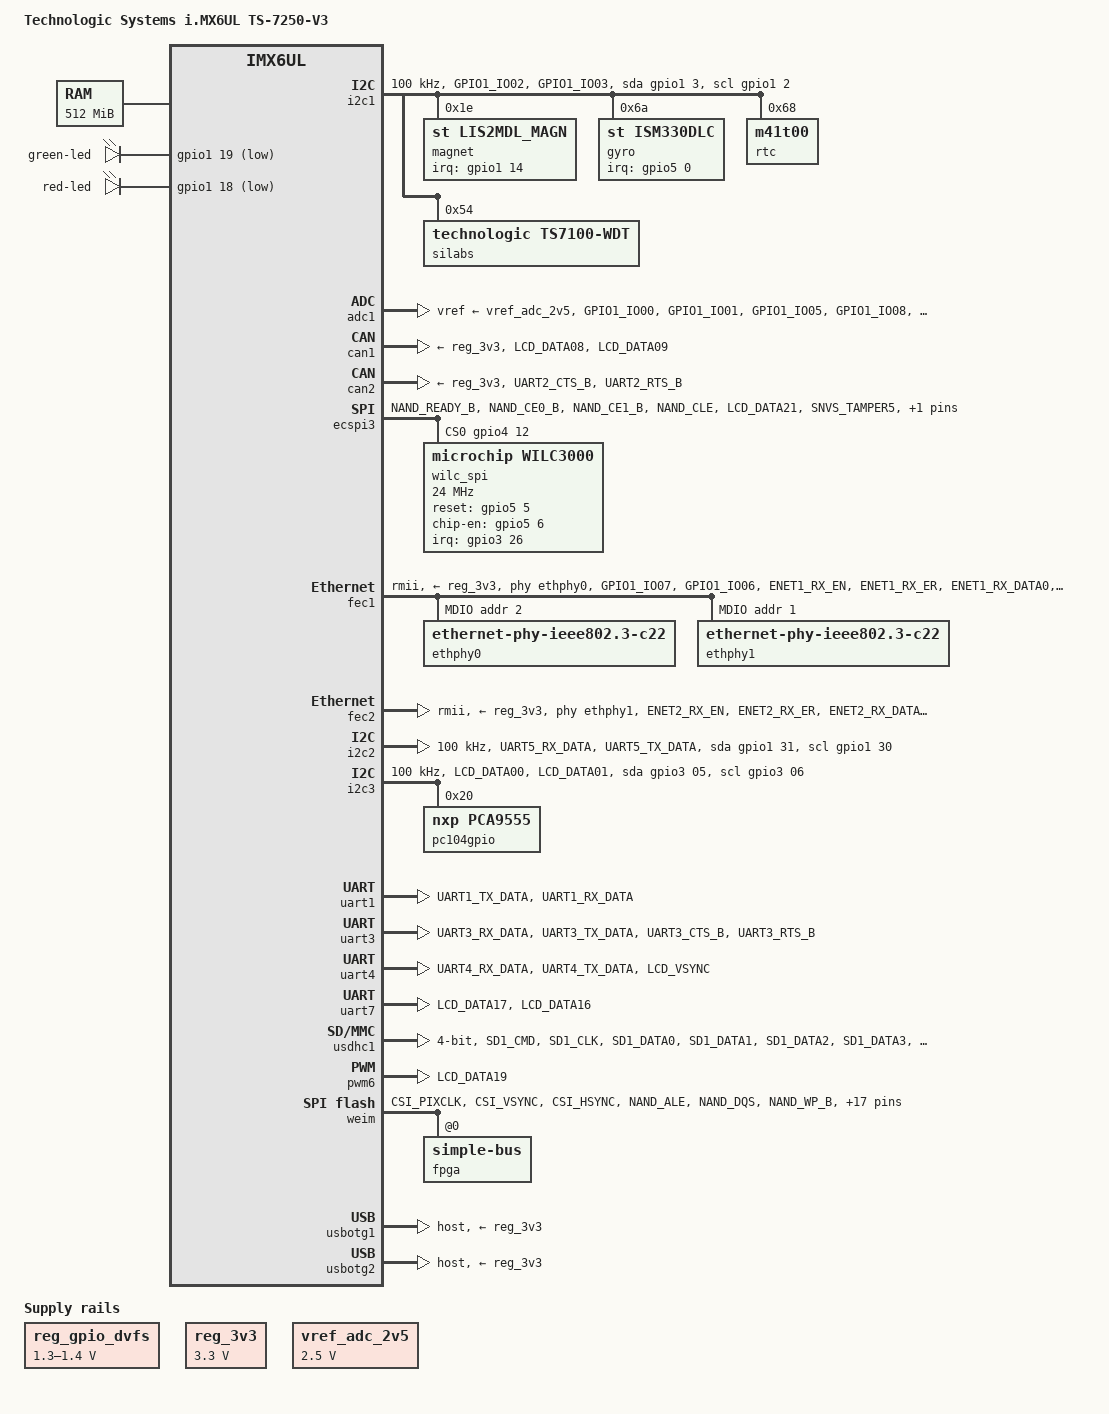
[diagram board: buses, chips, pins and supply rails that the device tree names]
/*
 * Copyright 2019 Technologic Systems
 *
 * This file is dual-licensed: you can use it either under the terms
 * of the GPL or the X11 license, at your option. Note that this dual
 * licensing only applies to this file, and not this project as a
 * whole.
 *
 *  a) This file is free software; you can redistribute it and/or
 *     modify it under the terms of the GNU General Public License
 *     version 2 as published by the Free Software Foundation.
 *
 *     This file is distributed in the hope that it will be useful
 *     but WITHOUT ANY WARRANTY; without even the implied warranty of
 *     MERCHANTABILITY or FITNESS FOR A PARTICULAR PURPOSE.  See the
 *     GNU General Public License for more details.
 *
 * Or, alternatively
 *
 *  b) Permission is hereby granted, free of charge, to any person
 *     obtaining a copy of this software and associated documentation
 *     files (the "Software"), to deal in the Software without
 *     restriction, including without limitation the rights to use
 *     copy, modify, merge, publish, distribute, sublicense, and/or
 *     sell copies of the Software, and to permit persons to whom the
 *     Software is furnished to do so, subject to the following
 *     conditions:
 *
 *     The above copyright notice and this permission notice shall be
 *     included in all copies or substantial portions of the Software.
 *
 *     THE SOFTWARE IS PROVIDED , WITHOUT WARRANTY OF ANY KIND
 *     EXPRESS OR IMPLIED, INCLUDING BUT NOT LIMITED TO THE WARRANTIES
 *     OF MERCHANTABILITY, FITNESS FOR A PARTICULAR PURPOSE AND
 *     NONINFRINGEMENT. IN NO EVENT SHALL THE AUTHORS OR COPYRIGHT
 *     HOLDERS BE LIABLE FOR ANY CLAIM, DAMAGES OR OTHER LIABILITY
 *     WHETHER IN AN ACTION OF CONTRACT, TORT OR OTHERWISE, ARISING
 *     FROM, OUT OF OR IN CONNECTION WITH THE SOFTWARE OR THE USE OR
 *     OTHER DEALINGS IN THE SOFTWARE.
 */

/dts-v1/;
#include <dt-bindings/input/input.h>
#include "imx6ul.dtsi"

/ {
	model = "Technologic Systems i.MX6UL TS-7250-V3";
	compatible = "technologic,ts7250v3", "fsl,imx6ul";

	aliases {
		ethernet0 = &fec1;
		ethernet1 = &fec2;
		serial8 = &fpga_uart0;
		serial9 = &fpga_uart1;
		serial10 = &fpga_uart2;
		serial11 = &fpga_uart3;
		serial12 = &fpga_uart4;
		serial13 = &fpga_uart5;
		serial14 = &fpga_uart6;
		serial15 = &fpga_uart7;
		serial16 = &fpga_uart8;
		pc104bus = &pc104bus;
	};

	chosen {
		stdout-path = &uart1;
	};

	memory {
		/* To be filled in by u-boot */
		reg = <0x80000000 0x20000000>;
	};

	leds {
		pinctrl-names = "default";
		pinctrl-0 = <&pinctrl_cpu_leds>;
		compatible = "gpio-leds";

		green-led {
			label = "green-led";
			gpios = <&gpio1 19 GPIO_ACTIVE_LOW>;
			default-state = "on";
		};

		red-led {
			label = "red-led";
			gpios = <&gpio1 18 GPIO_ACTIVE_LOW>;
			default-state = "off";
		};
	};

	reserved-memory {
		#address-cells = <1>;
		#size-cells = <1>;
		ranges;

		linux,cma {
			compatible = "shared-dma-pool";
			reusable;
			size = <0x14000000>;
			linux,cma-default;
		};
	};

	regulators {
		compatible = "simple-bus";
		#address-cells = <1>;
		#size-cells = <0>;

		reg_gpio_dvfs: regulator-gpio {
			compatible = "regulator-gpio";
			pinctrl-names = "default";
			pinctrl-0 = <&pinctrl_dvfs>;
			regulator-min-microvolt = <1300000>;
			regulator-max-microvolt = <1400000>;
			regulator-name = "gpio_dvfs";
			regulator-type = "voltage";
			gpios = <&gpio5 3 GPIO_ACTIVE_HIGH>;
			states = <1300000 0x1 1400000 0x0>;
		};

		reg_3v3: rev_3v3@0 {
			compatible = "regulator-fixed";
			regulator-name = "reg-3v3";
			regulator-min-microvolt = <3300000>;
			regulator-max-microvolt = <3300000>;
		};

		vref_adc_2v5: adc@0 {
			compatible = "regulator-fixed";
			regulator-name = "vref-adc";
			regulator-min-microvolt = <2500000>;
			regulator-max-microvolt = <2500000>;
		};
	};
};

&i2c1 {
	clock-frequency = <100000>;
	pinctrl-names = "default", "gpio";
	pinctrl-0 = <&pinctrl_i2c1>;
	pinctrl-1 = <&pinctrl_i2c1_gpio>;
	scl-gpios = <&gpio1 2 GPIO_ACTIVE_HIGH>;
	sda-gpios = <&gpio1 3 GPIO_ACTIVE_HIGH>;
	status = "okay";

	magnet: magnetometer@1e {
		compatible = "st,lis2mdl_magn";
		reg = <0x1e>;
		interrupt-parent = <&gpio1>;
		interrupts = <14 IRQ_TYPE_EDGE_RISING>;
		status = "okay";
	};

	gyro: ism1330@6a {
		compatible = "st,ism330dlc";
		reg = <0x6a>;
		interrupt-parent = <&gpio5>;
		interrupts = <0 IRQ_TYPE_EDGE_RISING>;
		status = "okay";
	};

	rtc: m41t00s@68 {
		compatible = "m41t00";
		reg = <0x68>;
		status = "okay";
	};

	silabs: silabs@54 {
		compatible = "technologic,ts7100-wdt";
		/* 5min timeout default, in case of slow userspace.
		 * Set to 0 to disable WDT at startup. Userspace procs
		 * can still start feeding later.
		 */
		timeout-sec = <300>;
		reg = <0x54>;
		status = "okay";
	};
};

&adc1 {
	pinctrl-names = "default";
	pinctrl-0 = <&pinctrl_adc1>;
	vref-supply = <&vref_adc_2v5>;
	status = "okay";
};

&can1 {
	pinctrl-names = "default";
	pinctrl-0 = <&pinctrl_flexcan1>;
	xceiver-supply = <&reg_3v3>;
	status = "okay";
};

&can2 {
	pinctrl-names = "default";
	pinctrl-0 = <&pinctrl_flexcan2>;
	xceiver-supply = <&reg_3v3>;
	status = "okay";
};

&cpu0 {
	arm-supply = <&reg_arm>;
	soc-supply = <&reg_soc>;
	dc-supply = <&reg_gpio_dvfs>;
};

&ecspi3 {
	pinctrl-names = "default";
	pinctrl-0 = <&pinctrl_ecspi3>;
	fsl,spi-num-chipselects = <1>;
	cs-gpios = <&gpio4 12 0>;
	status = "okay";

	wilc_spi@0 {
		compatible = "microchip,wilc3000";
		reg = <0>;
		spi-max-frequency = <24000000>;
		wilc3000,reset-gpios = <&gpio5 5 0>;
		wilc3000,chip-en-gpios = <&gpio5 6 0>;
		wilc3000,irq-gpios = <&gpio3 26 0>;
		status = "okay";
	};
};

&fec1 {
	pinctrl-names = "default";
	pinctrl-0 = <&pinctrl_enet1>;
	phy-mode = "rmii";
	phy-handle = <&ethphy0>;
	phy-supply = <&reg_3v3>;

	status = "okay";
	mdio {
		#address-cells = <1>;
		#size-cells = <0>;

		ethphy0: ethernet-phy@0 {
			clocks = <&clks IMX6UL_CLK_ENET_REF>;
			clock-names = "rmii-ref";
			compatible = "ethernet-phy-ieee802.3-c22";
			reg = <2>;
		};

		ethphy1: ethernet-phy@1 {
			clocks = <&clks IMX6UL_CLK_ENET_REF>;
			clock-names = "rmii-ref";
			compatible = "ethernet-phy-ieee802.3-c22";
			reg = <1>;
		};
	};
};

&fec2 {
	pinctrl-names = "default";
	pinctrl-0 = <&pinctrl_enet2>;
	phy-mode = "rmii";
	phy-handle = <&ethphy1>;
	phy-supply = <&reg_3v3>;
	status = "okay";
};

&gpc {
	fsl,cpu_pupscr_sw2iso = <0x1>;
	fsl,cpu_pupscr_sw = <0x0>;
	fsl,cpu_pdnscr_iso2sw = <0x1>;
	fsl,cpu_pdnscr_iso = <0x1>;
	fsl,ldo-bypass = <0>; /* DCDC, ldo-enable */
};

&gpio1 {
	gpio-line-names =
		"AN_CH1",
		"AN_CH2",
		"I2C_1_CLK",
		"I2C_1_DAT",
		"EN_SD_CARD_3.3V",
		"AN_CH3",
		"ETH_MDIO",
		"ETH_MDC",
		"AN_CH4",
		"AN_CH5",
		"",
		"",
		"",
		"FPGA_RESET",
		"MAGNET_IRQ",
		"",
		"CONSOLE_TXD",
		"CONSOLE_RXD",
		"EN_RED_LED#",
		"EN_GRN_LED#",
		"",
		"EN_XBEE_USB",
		"CAN_2_TXD",
		"CAN2_RXD_3V",
		"UART3_TXD",
		"UART3_RXD",
		"UART3_CTS#",
		"UART3_RTS#",
		"UART4_TXD",
		"UART4_RXD",
		"I2C_2_CLK",
		"I2C_2_DAT";
};

&gpio2 {
	gpio-line-names =
		"ENET1_RX_DATA0",
		"ENET1_RX_DATA1",
		"ENET1_RX_EN",
		"ENET1_TX_DATA0",
		"ENET1_TX_DATA1",
		"ENET1_TX_EN",
		"ENET1_TX_CLK",
		"ENET1_RX_ER",
		"ENET2_RX_DATA0",
		"ENET2_RX_DATA1",
		"ENET2_RX_EN",
		"ENET2_TX_DATA0",
		"ENET2_TX_DATA1",
		"ENET2_TX_EN",
		"ENET2_TX_CLK",
		"ENET2_RX_ER",
		"EMMC_CMD",
		"EMMC_CLK",
		"EMMC_D0",
		"EMMC_D1",
		"EMMC_D2",
		"EMMC_D3",
		"",
		"",
		"",
		"",
		"",
		"",
		"",
		"",
		"",
		"";
};

&gpio3 {
	gpio-line-names =
		"EN_USB_5V",
		"",
		"",
		"UART4_CTS#",
		"WDOG#",
		"I2C_3_DAT",
		"I2C_3_CLK",
		"ISA_RESET",
		"ISA_IOCHK",
		"LCD_PIN7",
		"LCD_PIN8",
		"LCD_PIN9",
		"LCD_PIN10",
		"CAN_1_TXD",
		"CAN1_RXD_3V",
		"LCD_PIN11",
		"LCD_PIN12",
		"LCD_PIN13",
		"LCD_PIN14",
		"LCD_WR#",
		"LCD_EN",
		"UART7_TXD",
		"UART7_RXD",
		"LCD_RS",
		"LCD_BIAS",
		"NIM_PWR_ON",
		"WIFI_IRQ#",
		"EN_DIO_FET",
		"SEL_XBEE_USB",
		"",
		"",
		"";
};

&gpio4 {
	gpio-line-names =
		"FPGA_FLASH_SELECT",
		"DETECT_94-120",
		"EIM_AD_08",
		"EIM_AD_09",
		"EIM_AD_10",
		"EIM_AD_11",
		"EIM_AD_12",
		"EIM_AD_13",
		"EIM_AD_14",
		"EIM_AD_15",
		"EIM_IRQ",
		"EIM_BLK",
		"SPI_3_CS#",
		"SPI_3_CLK",
		"SPI_3_MOSI",
		"SPI_3_MISO",
		"EIM_WAIT#",
		"EIM_CS0#",
		"EIM_OE#",
		"EIM_WE#",
		"EIM_LBA#",
		"EIM_AD_00",
		"EIM_AD_01",
		"EIM_AD_02",
		"EIM_AD_03",
		"EIM_AD_04",
		"EIM_AD_05",
		"EIM_AD_06",
		"EIM_AD_07",
		"",
		"",
		"";
};

&gpio5 {
	gpio-line-names =
		"GYRO_INT",
		"FPGA_IRQ",
		"EN_EMMC_3.3V",
		"GPIO_DVFS",
		"",
		"WIFI_RESET#",
		"EN_WIFI_PWR",
		"EN_CL_1",
		"EN_CL_2",
		"EN_CL_3",
		"",
		"",
		"",
		"",
		"",
		"",
		"",
		"",
		"",
		"",
		"",
		"",
		"",
		"",
		"",
		"",
		"",
		"",
		"",
		"",
		"",
		"";
};

&i2c2 {
	clock-frequency = <100000>;
	pinctrl-names = "default", "gpio";
	pinctrl-0 = <&pinctrl_i2c2>;
	pinctrl-1 = <&pinctrl_i2c2_gpio>;
	scl-gpios = <&gpio1 30 GPIO_ACTIVE_HIGH>;
	sda-gpios = <&gpio1 31 GPIO_ACTIVE_HIGH>;
	status = "okay";
};

&i2c3 {
	clock-frequency = <100000>;
	pinctrl-names = "default", "gpio";
	pinctrl-0 = <&pinctrl_i2c3>;
	pinctrl-1 = <&pinctrl_i2c3_gpio>;
	scl-gpios = <&gpio3 06 GPIO_ACTIVE_HIGH>;
	sda-gpios = <&gpio3 05 GPIO_ACTIVE_HIGH>;
	status = "okay";

	pc104gpio: pca9555@20 {
		compatible = "nxp,pca9555";
		reg = <0x20>;
		gpio-controller;
		#gpio-cells = <2>;
		status = "okay";
	};

	/* ATSHA204@64 */
};

&uart1 {
	pinctrl-names = "default";
	pinctrl-0 = <&pinctrl_uart1>;
	status = "okay";
};

&uart3 {
	pinctrl-names = "default";
	pinctrl-0 = <&pinctrl_uart3>;
	fsl,uart-has-rtscts;
	status = "okay";
};

&uart4 {
	pinctrl-names = "default";
	pinctrl-0 = <&pinctrl_uart4>;
	fsl,uart-has-rtscts;
	status = "okay";
};

&uart7 {
	pinctrl-names = "default";
	pinctrl-0 = <&pinctrl_uart7>;
	status = "okay";
};

&usdhc1 {
	pinctrl-names = "default";
	pinctrl-0 = <&pinctrl_usdhc1>;
	no-1-8-v;
	disable-wp;
	broken-cd = <1>;
	bus-width = <4>;
	status = "okay";
};

&pwm6 {
	pinctrl-names = "default";
	pinctrl-0 = <&pinctrl_pwm6>;
	status = "okay";
};

&snvs_rtc {
	status = "disabled";
};

&wdog1 {
	status = "disabled";
};

&weim {
	pinctrl-names = "default";
	pinctrl-0 = <&pinctrl_weim_fpga &pinctrl_weim_cs0>;
	#address-cells = <2>;
	#size-cells = <1>;
	clocks = <&clks IMX6UL_CLK_EIM>, <&clks IMX6UL_CLK_EIM_SLOW_SEL>;
	ranges = <0 0 0x50000000 0x08000000>;
	status = "okay";

	fpga: fpga@50000000 {
		compatible = "simple-bus";
		reg = <0 0x50000000 0x00010000>;
		#address-cells = <1>;
		#size-cells = <1>;
		ranges = <0 0 0 0x10000>;

		fsl,weim-cs-timing = <
			0x0161030F	// EIM_CSnGCR1 @ 0x021b8000
			0x00000000	// EIM_CSnGCR2 @ 0x021b8004
			0x03000000	// EIM_CSnRCR1 @ 0x021b8008
			0x00000000	// EIM_CSnRCR2 @ 0x021b800c
			0x01000000	// EIM_CSnWCR1 @ 0x021b8010
			0 		// EIM_CSnWCR2 @ 0x021b8014
		>;

		status = "okay";

		clocks {
			#address-cells = <1>;
			#size-cells = <1>;
			ranges;

			fpga_clk_weim_bclk: fpga_clk_weim_bclk {
				#clock-cells = <0>;
				compatible = "fixed-clock";
				clock-frequency = <99000000>;
			};
		};

		fpga_uart0: serial@0 {
			compatible = "ns16550a";
			device_type = "serial";
			reg = <0x0 16>;

			current-speed = <115200>;
			reg-shift = <1>;
			reg-io-width = <1>;
			clock-frequency = <1843200>;
			interrupt-parent = <&fpga_intc>;
			interrupts = <0>;
			status = "okay";
		};

		fpga_uart1: serial@10 {
			compatible = "ns16550a";
			device_type = "serial";
			reg = <0x10 16>;

			current-speed = <115200>;
			reg-shift = <1>;
			reg-io-width = <1>;
			clock-frequency = <1843200>;
			interrupt-parent = <&fpga_intc>;
			interrupts = <1>;
			status = "okay";
		};

		fpga_uart2: serial@20 {
			compatible = "ns16550a";
			device_type = "serial";
			reg = <0x20 16>;

			current-speed = <115200>;
			reg-shift = <1>;
			reg-io-width = <1>;
			clock-frequency = <1843200>;
			interrupt-parent = <&fpga_intc>;
			interrupts = <2>;
			status = "okay";
		};

		fpga_uart3: serial@30 {
			compatible = "ns16550a";
			device_type = "serial";
			reg = <0x30 16>;

			current-speed = <115200>;
			reg-shift = <1>;
			reg-io-width = <1>;
			clock-frequency = <1843200>;
			interrupt-parent = <&fpga_intc>;
			interrupts = <3>;
			status = "okay";
		};

		fpga_uart4: serial@40 {
			compatible = "ns16550a";
			device_type = "serial";
			reg = <0x40 16>;

			current-speed = <115200>;
			reg-shift = <1>;
			reg-io-width = <1>;
			clock-frequency = <1843200>;
			interrupt-parent = <&fpga_intc>;
			interrupts = <4>;
			status = "okay";
		};

		fpga_uart5: serial@50 {
			compatible = "ns16550a";
			device_type = "serial";
			reg = <0x50 16>;

			current-speed = <115200>;
			reg-shift = <1>;
			reg-io-width = <1>;
			clock-frequency = <1843200>;
			interrupt-parent = <&fpga_intc>;
			interrupts = <5>;
			status = "okay";
		};

		fpga_uart6: serial@60 {
			compatible = "ns16550a";
			device_type = "serial";
			reg = <0x60 16>;

			current-speed = <115200>;
			reg-shift = <1>;
			reg-io-width = <1>;
			clock-frequency = <1843200>;
			interrupt-parent = <&fpga_intc>;
			interrupts = <6>;
			status = "okay";
		};

		fpga_uart7: serial@70 {
			compatible = "ns16550a";
			device_type = "serial";
			reg = <0x70 16>;

			current-speed = <115200>;
			reg-shift = <1>;
			reg-io-width = <1>;
			clock-frequency = <1843200>;
			interrupt-parent = <&fpga_intc>;
			interrupts = <7>;
			status = "okay";
		};

		fpga_uart8: serial@80 {
			compatible = "ns16550a";
			device_type = "serial";
			reg = <0x80 16>;

			current-speed = <115200>;
			reg-shift = <1>;
			reg-io-width = <1>;
			clock-frequency = <1843200>;
			interrupt-parent = <&fpga_intc>;
			interrupts = <8>;
			status = "okay";
		};

		opencores_spi0: opencores_spi@0 {
			#address-cells = <1>;
			#size-cells = <0>;
			compatible = "opencores,spi-oc";
			reg = <0x100 32>;
			interrupt-parent = <&fpga_intc>;
			interrupts = <9>;
			clocks = <&fpga_clk_weim_bclk>;
			clock-names = "spi-oc-clk";
			opencores-spi,idx = <0>;
			opencores-spi,num-chipselects = <1>;
			status = "okay";

			offboardspi0: offboardspi@0 {
				compatible = "spidev";
				reg = <0>;
				spi-max-frequency = <1000000>;
			};
		};

		syscon: syscon@4000 {
			compatible = "simple-bus";
			#address-cells = <0x1>;
			#size-cells = <0x1>;
			reg = <0x4000 0x58>;
			ranges = <0 0x4000 0x58>;
			status = "okay";

			fpga_intc: fpga_intc@0 {
				compatible = "technologic,ts71xxweim-intc";
				reg = <0x0 0x50>;

				interrupt-controller;
				#interrupt-cells = <1>;

				interrupt-parent = <&gpio5>;
				interrupts = <1 IRQ_TYPE_EDGE_RISING>;
				status = "okay";
			};

			pc104bus: fpgaisa@50 {
				compatible = "technologic,pc104-bus";
				reg = <0x50 0x4>;

				ranges = <0 0 0x1000>;
				reset-gpio = <&gpio3 7 0>;

				#address-cells = <0x1>;
				#size-cells = <0x1>;

				status = "okay";
			};

			gpio6: fpga_gpio6@10 {
				compatible = "technologic,ts71xxweim-gpio";
				reg = <0x10 0x08>;
				gpio-controller;
				#gpio-cells = <2>;
				base = <160>;
				ngpios = <16>;
				interrupt-controller;
				#interrupt-cells = <1>;
				status = "okay";

				gpio-line-names =
					"PHY_RESET#",
					"DIO_PIN1",
					"DIO_PIN3",
					"DIO_PIN5",
					"DIO_PIN7",
					"DIO_PIN8",
					"DIO_PIN9",
					"DIO_PIN11",
					"DIO_PIN13",
					"DIO_PIN15",
					"DIO_SPI_MISO",
					"DIO_SPI_CS#",
					"SILAB_CLK",
					"SILAB_DAT",
					"",
					"";
			};

			gpio7: fpga_gpio7@40 {
				compatible = "technologic,ts71xxweim-gpio";
				reg = <0x40 0x08>;
				gpio-controller;
				#gpio-cells = <2>;
				base = <176>;
				ngpios = <16>;
				interrupt-controller;
				#interrupt-cells = <1>;
				status = "okay";

				gpio-line-names =
					"MIKRO_RESET#",
					"ISA_BALE",
					"ISA_TC",
					"ISA_ENDX",
					"EN_NIMBEL_3V3",
					"ISA_IORDY",
					"ISA_REFRESH",
					"ISA_DRQ1",
					"ISA_DACK1",
					"ISA_DRQ2",
					"ISA_DACK2",
					"EN_NIMBEL_4V",
					"ISA_DRQ3",
					"ISA_DACK3",
					"",
					"";
			};
		};
	 };
};

&iomuxc {
	pinctrl-names = "default";
	pinctrl-0 = <&ts7250v3_pinctrl_hog>;
	imx6ul-ts7250v3 {
		pinctrl_pwm6: pwm6grp {
			fsl,pins = <
				MX6UL_PAD_LCD_DATA19__PWM6_OUT	0x3020 /* LCD_BIAS */
			>;
		};

		ts7250v3_pinctrl_hog: hoggrp {
			fsl,pins = <
				/*
				 * 0x1b020 == Hyst., 100k PU, 50 mA drive
				 * 0x1a020 == no pull resistor
				 * 0x13020 == 100k PD
				 */

				/* TODO Verify pull state of these pins! */
				MX6UL_PAD_LCD_DATA02__GPIO3_IO07	0x13020 /* ISA_RESET */
				MX6UL_PAD_LCD_DATA03__GPIO3_IO08	0x13020 /* ISA_IOCHK */

				MX6UL_PAD_LCD_DATA04__GPIO3_IO09	0x1a020 /* LCD_PIN7 */
				MX6UL_PAD_LCD_DATA05__GPIO3_IO10	0x1a020 /* LCD_PIN8 */
				MX6UL_PAD_LCD_DATA06__GPIO3_IO11	0x1a020 /* LCD_PIN9 */
				MX6UL_PAD_LCD_DATA07__GPIO3_IO12	0x1a020 /* LCD_PIN10 */
				MX6UL_PAD_LCD_DATA10__GPIO3_IO15	0x1a020 /* LCD_PIN11 */
				MX6UL_PAD_LCD_DATA11__GPIO3_IO16	0x1a020 /* LCD_PIN12 */
				MX6UL_PAD_LCD_DATA12__GPIO3_IO17	0x1a020 /* LCD_PIN13 */
				MX6UL_PAD_LCD_DATA13__GPIO3_IO18	0x1a020 /* LCD_PIN14 */
				MX6UL_PAD_LCD_DATA14__GPIO3_IO19	0x1a020 /* LCD_WR# */
				MX6UL_PAD_LCD_DATA15__GPIO3_IO20	0x1a020 /* LCD_EN */
				MX6UL_PAD_LCD_DATA18__GPIO3_IO23	0x1a020 /* LCD_RS */

				MX6UL_PAD_LCD_DATA20__GPIO3_IO25	0x13020 /* NIM_PWR_ON */
				MX6UL_PAD_LCD_DATA22__GPIO3_IO27	0x13020 /* EN_DIO_FET */
				MX6UL_PAD_LCD_DATA23__GPIO3_IO28	0x13020 /* SEL_XBEE_USB */
				MX6UL_PAD_LCD_CLK__GPIO3_IO00		0x1b020 /* EN_USB_5V */

				MX6UL_PAD_UART2_RX_DATA__GPIO1_IO21	0x13020 /* EN_XBEE_USB */
				MX6UL_PAD_SNVS_TAMPER1__GPIO5_IO01	0x1b029 /* FPGA IRQ */
				MX6UL_PAD_NAND_RE_B__GPIO4_IO00		0x1b029 /* FPGA_FLASH_SELECT */
				MX6UL_PAD_NAND_WE_B__GPIO4_IO01		0x1b029 /* DETECT_94-120 */
			>;
		};

		pinctrl_cpu_leds: cpuledgrp {
			fsl,pins = <
				/* Red LED */
				MX6UL_PAD_UART1_CTS_B__GPIO1_IO18	0x1b020
				/* Green LED */
				MX6UL_PAD_UART1_RTS_B__GPIO1_IO19	0x1b020
			>;
		};

		pinctrl_adc1: adc1grp{
			fsl,pins = <
				MX6UL_PAD_GPIO1_IO00__GPIO1_IO00	0x20
				MX6UL_PAD_GPIO1_IO01__GPIO1_IO01	0x20
				MX6UL_PAD_GPIO1_IO05__GPIO1_IO05	0x20
				MX6UL_PAD_GPIO1_IO08__GPIO1_IO08	0x20
				MX6UL_PAD_GPIO1_IO09__GPIO1_IO09	0x20
			>;
		};

		pinctrl_flexcan1: flexcan1grp{
			fsl,pins = <
				MX6UL_PAD_LCD_DATA08__FLEXCAN1_TX	0x1b020
				MX6UL_PAD_LCD_DATA09__FLEXCAN1_RX	0x1b020
			>;
		};

		pinctrl_flexcan2: flexcan2grp{
			fsl,pins = <
				MX6UL_PAD_UART2_CTS_B__FLEXCAN2_TX	0x1b020
				MX6UL_PAD_UART2_RTS_B__FLEXCAN2_RX	0x1b020
			>;
		};

		pinctrl_uart1: uart1grp {
			fsl,pins = <
				MX6UL_PAD_UART1_TX_DATA__UART1_DCE_TX	0x1b0b1
				MX6UL_PAD_UART1_RX_DATA__UART1_DCE_RX	0x1b0b1
			>;
		};

		pinctrl_uart3: uart3grp {
			fsl,pins = <
				MX6UL_PAD_UART3_RX_DATA__UART3_DCE_RX	0x1b0b1
				MX6UL_PAD_UART3_TX_DATA__UART3_DCE_TX	0x1b0b1
				MX6UL_PAD_UART3_CTS_B__UART3_DCE_CTS	0x1b0b1
				MX6UL_PAD_UART3_RTS_B__UART3_DCE_RTS	0x1b0b1
			>;
		};

		pinctrl_uart4: uart4grp {
			fsl,pins = <
				MX6UL_PAD_UART4_RX_DATA__UART4_DCE_RX	0x1b0b1
				MX6UL_PAD_UART4_TX_DATA__UART4_DCE_TX	0x1b0b1
				MX6UL_PAD_LCD_VSYNC__UART4_DTE_CTS	0x1b0b1
			>;
		};

		pinctrl_uart7: uart7grp {
			fsl,pins = <
				MX6UL_PAD_LCD_DATA17__UART7_DCE_RX	0x1b0b1
				MX6UL_PAD_LCD_DATA16__UART7_DCE_TX	0x1b0b1
			>;
		};

		pinctrl_enet1: enet1grp {
			fsl,pins = <
				MX6UL_PAD_GPIO1_IO07__ENET1_MDC		0x1b0b0
				MX6UL_PAD_GPIO1_IO06__ENET1_MDIO	0x1b0b0
				MX6UL_PAD_ENET1_RX_EN__ENET1_RX_EN	0x1b0b0
				MX6UL_PAD_ENET1_RX_ER__ENET1_RX_ER	0x1b0b0
				MX6UL_PAD_ENET1_RX_DATA0__ENET1_RDATA00	0x1b0b0
				MX6UL_PAD_ENET1_RX_DATA1__ENET1_RDATA01	0x1b0b0
				MX6UL_PAD_ENET1_TX_EN__ENET1_TX_EN	0x1b0b0
				MX6UL_PAD_ENET1_TX_DATA0__ENET1_TDATA00	0x1b0b0
				MX6UL_PAD_ENET1_TX_DATA1__ENET1_TDATA01	0x1b0b0
				MX6UL_PAD_ENET1_TX_CLK__ENET1_REF_CLK1	0x4001b031
			>;
		};

		pinctrl_enet2: enet2grp {
			fsl,pins = <
				MX6UL_PAD_ENET2_RX_EN__ENET2_RX_EN	0x1b0b0
				MX6UL_PAD_ENET2_RX_ER__ENET2_RX_ER	0x1b0b0
				MX6UL_PAD_ENET2_RX_DATA0__ENET2_RDATA00	0x1b0b0
				MX6UL_PAD_ENET2_RX_DATA1__ENET2_RDATA01	0x1b0b0
				MX6UL_PAD_ENET2_TX_EN__ENET2_TX_EN	0x1b0b0
				MX6UL_PAD_ENET2_TX_DATA0__ENET2_TDATA00	0x1b0b0
				MX6UL_PAD_ENET2_TX_DATA1__ENET2_TDATA01	0x1b0b0
				MX6UL_PAD_ENET2_TX_CLK__ENET2_REF_CLK2	0x4001b031
			>;
		};

		pinctrl_i2c1: i2c1grp {
			fsl,pins = <
				MX6UL_PAD_GPIO1_IO02__I2C1_SCL		0x4001a8b0
				MX6UL_PAD_GPIO1_IO03__I2C1_SDA		0x4001a8b0
			>;
		};

		pinctrl_i2c1_gpio: i2c1grpgpio {
			fsl,pins = <
				MX6UL_PAD_GPIO1_IO02__GPIO1_IO02	0x108B0
				MX6UL_PAD_GPIO1_IO03__GPIO1_IO03	0x108B0
				MX6UL_PAD_JTAG_TCK__GPIO1_IO14		0x1b020 /* MAGNET_IRQ */
				MX6UL_PAD_SNVS_TAMPER0__GPIO5_IO00	0x1b020 /* GYRO_INT */
			>;
		};

		pinctrl_i2c2: i2c2grp {
			fsl,pins = <
				MX6UL_PAD_UART5_RX_DATA__I2C2_SDA	0x4001a8b0
				MX6UL_PAD_UART5_TX_DATA__I2C2_SCL	0x4001a8b0
			>;
		};

		pinctrl_i2c2_gpio: i2c2grpgpio {
			fsl,pins = <
				MX6UL_PAD_UART5_RX_DATA__GPIO1_IO31	0x4001a8b0
				MX6UL_PAD_UART5_TX_DATA__GPIO1_IO30	0x4001a8b0
			>;
		};

		pinctrl_ecspi3: ecspi3grp {
			fsl,pins = <
				MX6UL_PAD_NAND_READY_B__GPIO4_IO12	0x100b1 /* SPI_3_CS# */
				MX6UL_PAD_NAND_CE0_B__ECSPI3_SCLK	0x100b1
				MX6UL_PAD_NAND_CE1_B__ECSPI3_MOSI	0x100b1
				MX6UL_PAD_NAND_CLE__ECSPI3_MISO		0x100b1
				MX6UL_PAD_LCD_DATA21__GPIO3_IO26	0x100b1 /* WIFI_IRQ# */
				MX6UL_PAD_SNVS_TAMPER5__GPIO5_IO05	0x100b1 /* WIFI_RESET# */
				MX6UL_PAD_SNVS_TAMPER6__GPIO5_IO06	0x100b1 /* EN_WIFI_PWR */
			>;
		};

		pinctrl_i2c3: i2c3grp {
			fsl,pins = <
				MX6UL_PAD_LCD_DATA00__I2C3_SDA		0x4001a8b0
				MX6UL_PAD_LCD_DATA01__I2C3_SCL		0x4001a8b0
			>;
		};

		pinctrl_i2c3_gpio: i2c3grpgpio {
			fsl,pins = <
				MX6UL_PAD_LCD_DATA00__GPIO3_IO05	0x4001a8b0
				MX6UL_PAD_LCD_DATA01__GPIO3_IO06	0x4001a8b0
			>;
		};

		pinctrl_usdhc1: usdhc1grp {
			fsl,pins = <
				MX6UL_PAD_SD1_CMD__USDHC1_CMD		0x17059
				MX6UL_PAD_SD1_CLK__USDHC1_CLK		0x10071
				MX6UL_PAD_SD1_DATA0__USDHC1_DATA0	0x17059
				MX6UL_PAD_SD1_DATA1__USDHC1_DATA1	0x17059
				MX6UL_PAD_SD1_DATA2__USDHC1_DATA2	0x17059
				MX6UL_PAD_SD1_DATA3__USDHC1_DATA3	0x17059
				MX6UL_PAD_SNVS_TAMPER2__GPIO5_IO02	0x1b020 /* EN_EMMC_3.3V */
			>;
		};

		pinctrl_dvfs: dvfsgrp {
			fsl,pins = <
				MX6UL_PAD_SNVS_TAMPER3__GPIO5_IO03	0x1b0a0
			>;
		};
		pinctrl_weim_cs0: weimcs0grp {
			fsl,pins = <
				MX6UL_PAD_CSI_MCLK__GPIO4_IO17		0xb029 /* EIM_CS0# */
			>;
		};

		pinctrl_weim_fpga: weimfpgagrp {
			fsl,pins = <
				/* EIM_OE# */
				MX6UL_PAD_CSI_PIXCLK__EIM_OE		0x1b029
				/* EIM_WE# */
				MX6UL_PAD_CSI_VSYNC__EIM_RW		0x1b029
				/* EIM_LBA# */
				MX6UL_PAD_CSI_HSYNC__EIM_LBA_B		0x1b029
				/* EIM_IRQ */
				MX6UL_PAD_NAND_ALE__GPIO4_IO10		0x1b029
				/* EIM_WAIT */
				MX6UL_PAD_NAND_DQS__EIM_WAIT		0x1b029
				/* EIM_BCLK */
				MX6UL_PAD_NAND_WP_B__EIM_BCLK		0x1b029

				/* EIM Address */
				MX6UL_PAD_NAND_DATA07__EIM_AD15		0x1b029
				MX6UL_PAD_NAND_DATA06__EIM_AD14		0x1b029
				MX6UL_PAD_NAND_DATA05__EIM_AD13		0x1b029
				MX6UL_PAD_NAND_DATA04__EIM_AD12		0x1b029
				MX6UL_PAD_NAND_DATA03__EIM_AD11		0x1b029
				MX6UL_PAD_NAND_DATA02__EIM_AD10		0x1b029
				MX6UL_PAD_NAND_DATA01__EIM_AD09		0x1b029
				MX6UL_PAD_NAND_DATA00__EIM_AD08		0x1b029
				MX6UL_PAD_CSI_DATA07__EIM_AD07		0x1b029
				MX6UL_PAD_CSI_DATA06__EIM_AD06		0x1b029
				MX6UL_PAD_CSI_DATA05__EIM_AD05		0x1b029
				MX6UL_PAD_CSI_DATA04__EIM_AD04		0x1b029
				MX6UL_PAD_CSI_DATA03__EIM_AD03		0x1b029
				MX6UL_PAD_CSI_DATA02__EIM_AD02		0x1b029
				MX6UL_PAD_CSI_DATA01__EIM_AD01 		0x1b029
				MX6UL_PAD_CSI_DATA00__EIM_AD00		0x1b029
			>;
		};
	};
};

&usbotg1 {
	dr_mode = "host";
	disable-over-current;
	vbus-supply = <&reg_3v3>;
	status = "okay";
};

&usbotg2 {
	dr_mode = "host";
	disable-over-current;
	vbus-supply = <&reg_3v3>;
	status = "okay";
};
